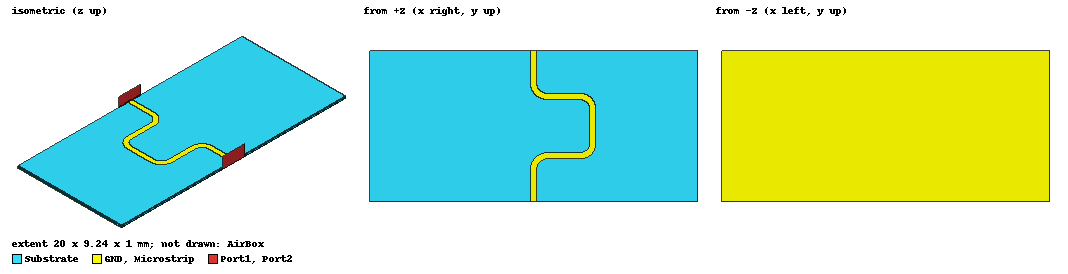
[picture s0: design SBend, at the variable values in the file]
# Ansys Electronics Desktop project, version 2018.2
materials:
  vacuum: permittivity=1
  air: permittivity=1.0006 permeability=1.0000004
  copper: permeability=0.999991 conductivity=58000000
  Rogers RO3003 (tm): permittivity=3 dielectric_loss_tangent=0.0013

design SBend (HFSS, DrivenModal, model units mm)
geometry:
  AirBox [air] = box(corner=(-10mm, 0mm, -0.017mm), size=(20mm, 9.24mm, 3mm))
  GND [copper] = box(corner=(-10mm, 0mm, -0.017mm), size=(20mm, 9.24mm, 0.017mm))
  Substrate [Rogers RO3003 (tm)] = box(corner=(-10mm, 0mm, -0.017mm), size=(20mm, 9.24mm, 0.168mm))
  Microstrip [copper] = polyline(z=0.168mm, xy in mm: (-0.19, 0) (-0.19, 2) (-0.1862, 2.0872) (-0.1748, 2.1736) (-0.1559, 2.2588) (-0.1297, 2.342) (-0.0963, 2.4226) (-0.056, 2.5) (-0.0092, 2.5736) (0.044, 2.6428) (0.1029, 2.7071) (0.1672, 2.766) (0.2364, 2.8192) (0.31, 2.866) (0.3874, 2.9063) (0.468, 2.9397) (0.5512, 2.9659) (0.6364, 2.9848) (0.7228, 2.9962) (0.81, 3) (2.81, 3) (2.864, 3.0024) (2.9177, 3.0094) (2.9705, 3.0211) (3.0221, 3.0374) (3.072, 3.0581) (3.12, 3.0831) (3.1656, 3.1121) (3.2085, 3.1451) (3.2484, 3.1816) (3.2849, 3.2215) (3.3179, 3.2644) (3.3469, 3.31) (3.3719, 3.358) (3.3926, 3.4079) (3.4089, 3.4595) (3.4206, 3.5123) (3.4276, 3.566) (3.43, 3.62) (3.43, 5.62) (3.4276, 5.674) (3.4206, 5.7277) (3.4089, 5.7805) (3.3926, 5.8321) (3.3719, 5.882) (3.3469, 5.93) (3.3179, 5.9756) (3.2849, 6.0185) (3.2484, 6.0584) (3.2085, 6.0949) (3.1656, 6.1279) (3.12, 6.1569) (3.072, 6.1819) (3.0221, 6.2026) (2.9705, 6.2189) (2.9177, 6.2306) (2.864, 6.2376) (2.81, 6.24) (0.81, 6.24) (0.7228, 6.2438) (0.6364, 6.2552) (0.5512, 6.2741) (0.468, 6.3003) (0.3874, 6.3337) (0.31, 6.374) (0.2364, 6.4208) (0.1672, 6.474) (0.1029, 6.5329) (0.044, 6.5972) (-0.0092, 6.6664) (-0.056, 6.74) (-0.0963, 6.8174) (-0.1297, 6.898) (-0.1559, 6.9812) (-0.1748, 7.0664) (-0.1862, 7.1528) (-0.19, 7.24) (-0.19, 9.24) (0.19, 9.24) (0.19, 7.24) (0.1924, 7.186) (0.1994, 7.1323) (0.2111, 7.0795) (0.2274, 7.0279) (0.2481, 6.978) (0.2731, 6.93) (0.3021, 6.8844) (0.3351, 6.8415) (0.3716, 6.8016) (0.4115, 6.7651) (0.4544, 6.7321) (0.5, 6.7031) (0.548, 6.6781) (0.5979, 6.6574) (0.6495, 6.6411) (0.7023, 6.6294) (0.756, 6.6224) (0.81, 6.62) (2.81, 6.62) (2.8972, 6.6162) (2.9836, 6.6048) (3.0688, 6.5859) (3.152, 6.5597) (3.2326, 6.5263) (3.31, 6.486) (3.3836, 6.4392) (3.4528, 6.386) (3.5171, 6.3271) (3.576, 6.2628) (3.6292, 6.1936) (3.676, 6.12) (3.7163, 6.0426) (3.7497, 5.962) (3.7759, 5.8788) (3.7948, 5.7936) (3.8062, 5.7072) (3.81, 5.62) (3.81, 3.62) (3.8062, 3.5328) (3.7948, 3.4464) (3.7759, 3.3612) (3.7497, 3.278) (3.7163, 3.1974) (3.676, 3.12) (3.6292, 3.0464) (3.576, 2.9772) (3.5171, 2.9129) (3.4528, 2.854) (3.3836, 2.8008) (3.31, 2.754) (3.2326, 2.7137) (3.152, 2.6803) (3.0688, 2.6541) (2.9836, 2.6352) (2.8972, 2.6238) (2.81, 2.62) (0.81, 2.62) (0.756, 2.6176) (0.7023, 2.6106) (0.6495, 2.5989) (0.5979, 2.5826) (0.548, 2.5619) (0.5, 2.5369) (0.4544, 2.5079) (0.4115, 2.4749) (0.3716, 2.4384) (0.3351, 2.3985) (0.3021, 2.3556) (0.2731, 2.31) (0.2481, 2.262) (0.2274, 2.2121) (0.2111, 2.1605) (0.1994, 2.1077) (0.1924, 2.054) (0.19, 2) (0.19, 0) (-0.19, 0), closed, covered)
  Microstrip.thicken(0.017mm)
  Port1 = rectangle(corner=(-1mm, 0mm, -0.017mm), z_size=1mm, x_size=2mm)
  Port2 = rectangle(corner=(-1mm, 9.24mm, -0.017mm), z_size=1mm, x_size=2mm)
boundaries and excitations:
  RadBox: Radiation Objects=AirBox
  WavePort1: Wave Port Objects=Port1 NumModes=1 Modes{Mode1{CharImp=Zpi}}
  WavePort2: Wave Port Objects=Port2 NumModes=1 Modes{Mode1{CharImp=Zpi}}
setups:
  Setup1: HfssDriven Frequency=40GHz MaxDeltaS=0.02 MaximumPasses=25 MinimumPasses=1 MinimumConvergedPasses=1 PercentRefinement=20 BasisOrder=1 PortAccuracy=2
    sweep Sweep1: 20GHz to 60GHz, 120 points; Type=Interpolating InterpTolerance=0.5 InterpMaxSolns=101 InterpUsePortImped=false PassivityErrorTolerance=0.0001
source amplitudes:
  WavePort1:1: 1W 0deg
  WavePort2:1: 0W 0deg
